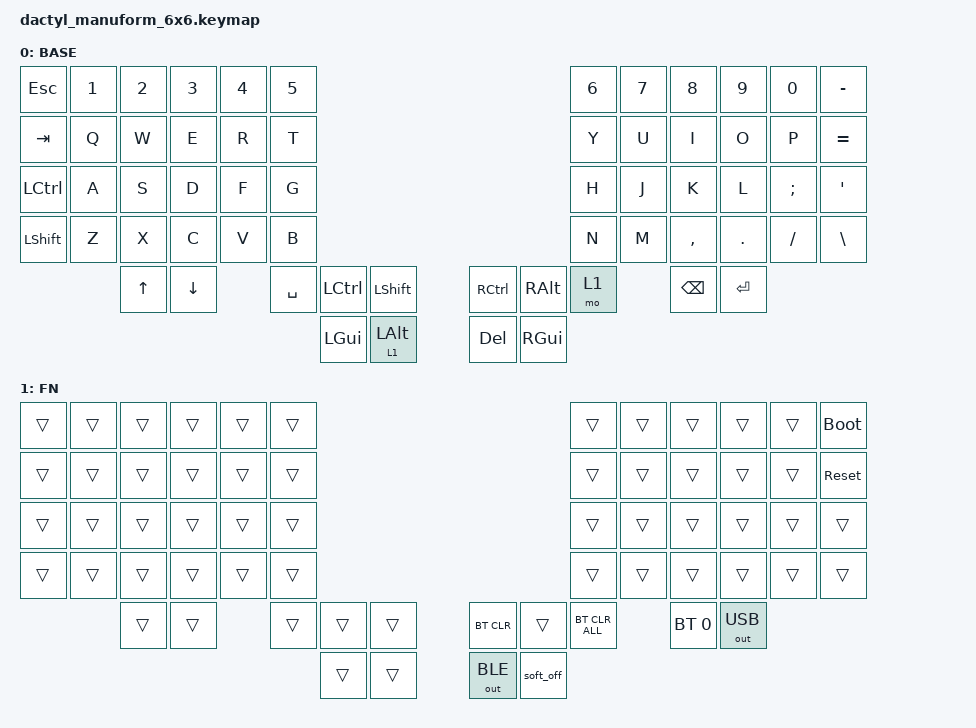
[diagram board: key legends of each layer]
#include <behaviors.dtsi>
#include <dt-bindings/zmk/bt.h>
#include <dt-bindings/zmk/keys.h>
#include <dt-bindings/zmk/outputs.h>

&soft_off {
    hold-time-ms = <2000>;
};

/ {
    keymap {
        compatible = "zmk,keymap";

        base_layer {
            display-name = "BASE";
            bindings = <
                &kp ESC           &kp N1     &kp N2     &kp N3        &kp N4       &kp N5
                &kp TAB           &kp Q      &kp W      &kp E         &kp R        &kp T
                &kp LCTRL         &kp A      &kp S      &kp D         &kp F        &kp G
                &kp LSHFT         &kp Z      &kp X      &kp C         &kp V        &kp B
                &kp UP_ARROW      &kp DOWN_ARROW         &kp SPACE     &kp LCTRL    &kp LSHFT
                &kp LGUI          &lt 1 LALT

                &kp N6            &kp N7     &kp N8     &kp N9        &kp N0       &kp MINUS
                &kp Y             &kp U      &kp I      &kp O         &kp P        &kp EQUAL
                &kp H             &kp J      &kp K      &kp L         &kp SEMI     &kp APOS
                &kp N             &kp M      &kp COMMA  &kp DOT       &kp FSLH     &kp BSLH
                &kp BACKSPACE     &kp ENTER  &kp DELETE &kp RCTRL     &mo 1
                &kp RGUI          &kp RALT
            >;
        };

        fn_layer {
            display-name = "FN";
            bindings = <
                &trans        &trans        &trans        &trans        &trans       &trans
                &trans        &trans        &trans        &trans        &trans       &trans
                &trans        &trans        &trans        &trans        &trans       &trans
                &trans        &trans        &trans        &trans        &trans       &trans
                &trans        &trans        &trans        &trans        &trans
                &trans        &trans

                &trans        &trans        &trans        &trans        &trans       &bootloader
                &trans        &trans        &trans        &trans        &trans       &sys_reset
                &trans        &trans        &trans        &trans        &trans       &trans
                &trans        &trans        &trans        &trans        &trans       &trans
                &bt BT_SEL 0  &out OUT_USB  &out OUT_BLE &bt BT_CLR    &bt BT_CLR_ALL
                &soft_off     &trans
            >;
        };
    };
};
